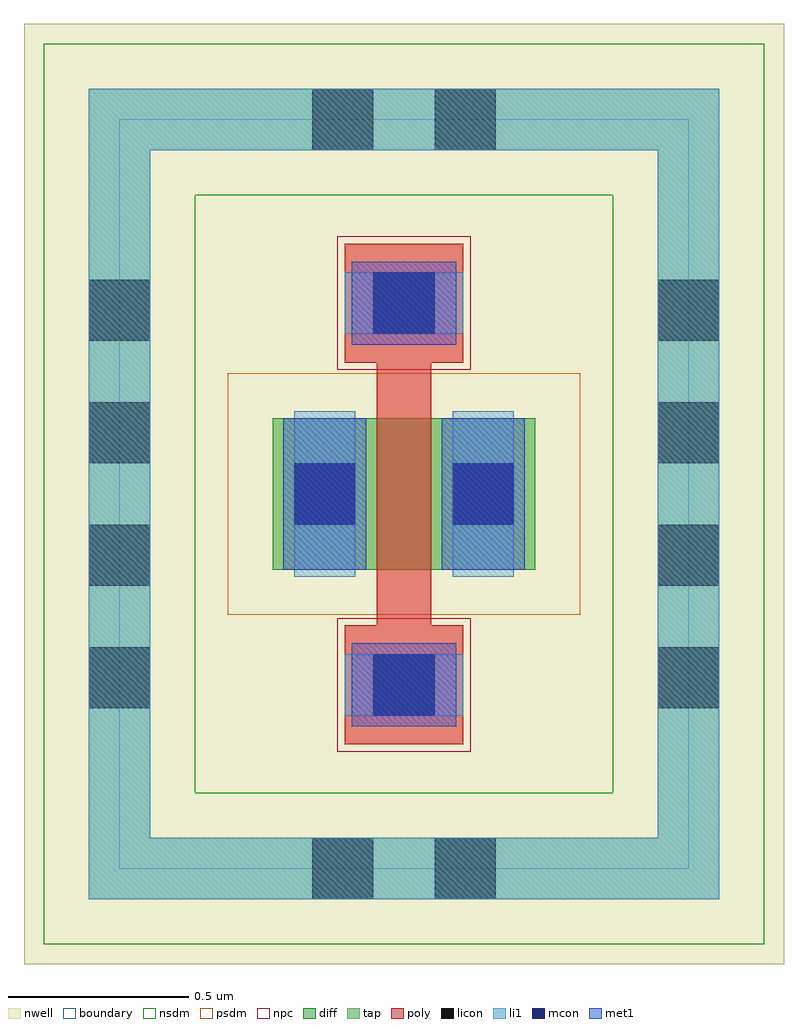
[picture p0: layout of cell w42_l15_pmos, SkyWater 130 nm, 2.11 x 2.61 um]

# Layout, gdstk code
import gdstk
lib = gdstk.Library(unit=1e-6, precision=1e-09)
def R(c, l, rs):  # rectangles x0, y0, x1, y1
    for r in rs: c.add(gdstk.rectangle(r[:2], r[2:], *l))
def A(c, l, x, y, w, h, nx, ny, dx, dy):  # array of equal rectangles
    R(c, l, [(x+i*dx, y+j*dy, x+i*dx+w, y+j*dy+h) for i in range(nx) for j in range(ny)])
nwell = (64, 20)
diff = (65, 20)
tap = (65, 44)
poly = (66, 20)
licon = (66, 44)
li1 = (67, 20)
mcon = (67, 44)
met1 = (68, 20)
nsdm = (93, 44)
psdm = (94, 20)
npc = (95, 20)
boundary = (235, 4)

sky130_fd_pr__pfet_01v8 = lib.new_cell('sky130_fd_pr__pfet_01v8')

w42_l15_pmos = lib.new_cell('w42_l15_pmos')
R(w42_l15_pmos, nwell, [(-1.055,-1.305,1.055,1.305)])
R(w42_l15_pmos, diff, [(-0.365,-0.21,0.365,0.21)])
R(w42_l15_pmos, tap, [(-0.875,-1.125,0.875,-0.955), (-0.875,-0.955,-0.705,0.955), (0.705,-0.955,0.875,0.955), (-0.875,0.955,0.875,1.125)])
R(w42_l15_pmos, poly, [(-0.165,-0.695,0.165,-0.365), (-0.075,-0.365,0.075,0.365), (-0.165,0.365,0.165,0.695)])
A(w42_l15_pmos, licon, -0.875, -0.595, 0.17, 0.17, 1, 4, 0, 0.34)
A(w42_l15_pmos, licon, 0.705, -0.595, 0.17, 0.17, 1, 4, 0, 0.34)
R(w42_l15_pmos, licon, [(-0.255,-1.125,-0.085,-0.955), (0.085,-1.125,0.255,-0.955), (-0.085,-0.615,0.085,-0.445), (-0.305,-0.085,-0.135,0.085), (0.135,-0.085,0.305,0.085), (-0.085,0.445,0.085,0.615), (-0.255,0.955,-0.085,1.125), (0.085,0.955,0.255,1.125)])
R(w42_l15_pmos, li1, [(-0.875,-1.125,0.875,-0.955), (-0.875,-0.955,-0.705,0.955), (0.705,-0.955,0.875,0.955), (-0.165,-0.615,0.165,-0.445), (-0.305,-0.23,-0.135,0.23), (0.135,-0.23,0.305,0.23), (-0.165,0.445,0.165,0.615), (-0.875,0.955,0.875,1.125)])
R(w42_l15_pmos, mcon, [(-0.085,-0.615,0.085,-0.445), (-0.305,-0.085,-0.135,0.085), (0.135,-0.085,0.305,0.085), (-0.085,0.445,0.085,0.615)])
R(w42_l15_pmos, met1, [(-0.145,-0.645,0.145,-0.415), (-0.335,-0.21,-0.105,0.21), (0.105,-0.21,0.335,0.21), (-0.145,0.415,0.145,0.645)])
R(w42_l15_pmos, nsdm, [(-1,-1.25,1,-0.83), (-1,-0.83,-0.58,0.83), (0.58,-0.83,1,0.83), (-1,0.83,1,1.25)])
R(w42_l15_pmos, psdm, [(-0.49,-0.335,0.49,0.335)])
R(w42_l15_pmos, npc, [(-0.185,-0.715,0.185,-0.345), (-0.185,0.345,0.185,0.715)])
R(w42_l15_pmos, boundary, [(-0.79,-1.04,0.79,1.04)])
w42_l15_pmos.add(gdstk.Reference(sky130_fd_pr__pfet_01v8, (0,0)))

lib.write_gds('w42_l15_pmos.gds')
